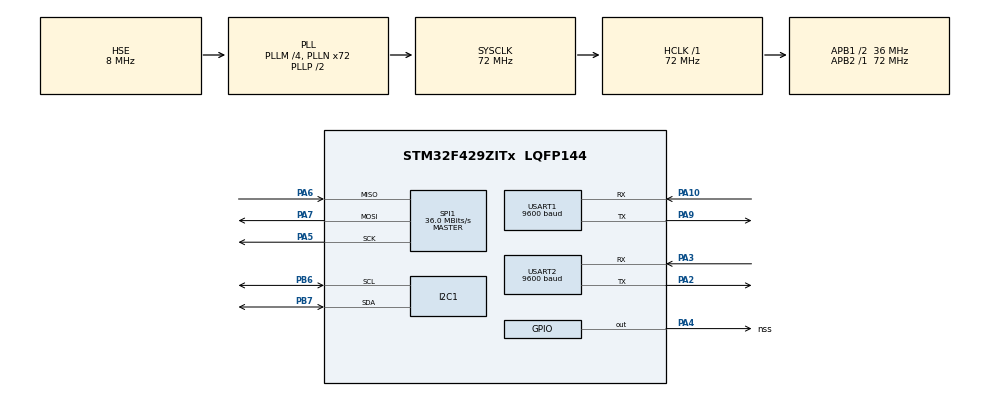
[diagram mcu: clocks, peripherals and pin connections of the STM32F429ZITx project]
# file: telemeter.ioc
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I2C1.I2C_Mode=I2C_Fast
Mcu.Family=STM32F4
Mcu.Name=STM32F429ZITx
Mcu.Package=LQFP144
NVIC.PriorityGroup=NVIC_PRIORITYGROUP_4
NVIC.SPI1_IRQn=true\:0\:0\:false\:false\:true\:true\:true\:true
NVIC.USART1_IRQn=true\:0\:0\:false\:false\:true\:true\:true\:true
PA10.Mode=Asynchronous
PA10.Signal=USART1_RX
PA13.Mode=Serial_Wire
PA13.Signal=SYS_JTMS-SWDIO
PA14.Mode=Serial_Wire
PA14.Signal=SYS_JTCK-SWCLK
PA2.Mode=Asynchronous
PA2.Signal=USART2_TX
PA3.Mode=Asynchronous
PA3.Signal=USART2_RX
PA4.GPIO_Label=nss
PA4.Signal=GPIO_Output
PA5.Mode=Full_Duplex_Master
PA5.Signal=SPI1_SCK
PA6.Mode=Full_Duplex_Master
PA6.Signal=SPI1_MISO
PA7.Mode=Full_Duplex_Master
PA7.Signal=SPI1_MOSI
PA9.Mode=Asynchronous
PA9.Signal=USART1_TX
PB6.Mode=I2C
PB6.Signal=I2C1_SCL
PB7.Mode=I2C
PB7.Signal=I2C1_SDA
PH0/OSC_IN.Mode=HSE-External-Oscillator
PH0/OSC_IN.Signal=RCC_OSC_IN
PH1/OSC_OUT.Mode=HSE-External-Oscillator
PH1/OSC_OUT.Signal=RCC_OSC_OUT
ProjectManager.HeapSize=0x200
ProjectManager.StackSize=0x400
ProjectManager.TargetToolchain=STM32CubeIDE
RCC.48MHZClocksFreq_Value=48000000
RCC.AHBFreq_Value=72000000
RCC.APB1CLKDivider=RCC_HCLK_DIV2
RCC.APB1Freq_Value=36000000
RCC.APB1TimFreq_Value=72000000
RCC.APB2Freq_Value=72000000
RCC.APB2TimFreq_Value=72000000
RCC.CortexFreq_Value=72000000
RCC.HCLKFreq_Value=72000000
RCC.HSE_VALUE=8000000
RCC.HSI_VALUE=16000000
RCC.LSE_VALUE=32768
RCC.PLLM=4
RCC.PLLN=72
RCC.PLLQ=3
RCC.PLLSAIN=50
RCC.PLLSourceVirtual=RCC_PLLSOURCE_HSE
RCC.SYSCLKFreq_VALUE=72000000
RCC.SYSCLKSource=RCC_SYSCLKSOURCE_PLLCLK
RCC.VCOOutputFreq_Value=144000000
SPI1.CalculateBaudRate=36.0 MBits/s
SPI1.Direction=SPI_DIRECTION_2LINES
SPI1.Mode=SPI_MODE_MASTER
SPI1.VirtualType=VM_MASTER
USART1.BaudRate=9600
USART1.VirtualMode=VM_ASYNC
USART2.BaudRate=9600
USART2.VirtualMode=VM_ASYNC
board=STM32F429I-DISC1

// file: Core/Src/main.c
/* USER CODE BEGIN Header */
/**
  ******************************************************************************
  * @file           : main.c
  * @brief          : Main program body
  ******************************************************************************
  * @attention
  *
  * Copyright (c) 2023 STMicroelectronics.
  * All rights reserved.
  *
  * This software is licensed under terms that can be found in the LICENSE file
  * in the root directory of this software component.
  * If no LICENSE file comes with this software, it is provided AS-IS.
  *
  ******************************************************************************
  */
/* USER CODE END Header */
#include "main.h"

/* USER CODE BEGIN Includes */
#include "liquidcrystal_i2c.h"
#include "lora_sx1276.h"
/* USER CODE END Includes */

/* USER CODE BEGIN PD */
#define SLAVE_ADDRESS_LCD 0x27
/* USER CODE END PD */

I2C_HandleTypeDef hi2c1;

SPI_HandleTypeDef hspi1;

UART_HandleTypeDef huart1;
UART_HandleTypeDef huart2;

/* USER CODE BEGIN PV */
uint32_t previousTick = 0;
uint16_t readValue;
uint8_t charValue;
uint8_t singleChar[1] = {0};
uint8_t dataBuffer[20] = {0};
uint8_t dataIndex = 0;
uint8_t txBuffer[20] = {0};
uint8_t rxBuffer[20] = {0};
uint8_t rxIndex = 0;
uint8_t rxData;

uint8_t data[10];
uint8_t get_data[4]={};

/* USER CODE END PV */

void SystemClock_Config(void);
static void MX_GPIO_Init(void);
static void MX_USART1_UART_Init(void);
static void MX_I2C1_Init(void);
static void MX_SPI1_Init(void);
static void MX_USART2_UART_Init(void);

int main(void)
{

  /* MCU Configuration--------------------------------------------------------*/

  /* Reset of all peripherals, Initializes the Flash interface and the Systick. */
  HAL_Init();

  /* Configure the system clock */
  SystemClock_Config();

  /* Initialize all configured peripherals */
  MX_GPIO_Init();
  MX_USART1_UART_Init();
  MX_I2C1_Init();
  MX_SPI1_Init();
  MX_USART2_UART_Init();
  /* USER CODE BEGIN 2 */

  HD44780_Init(2);
  HD44780_Clear();

  data[0]=0;
  data[1]=63;
  data[2]=23;

  int c;
  int d;
  char get_data2[]="";

  int a=10;
  char char_value=a+"0";
  printf("char değeri: %c",char_value);

  /* USER CODE END 2 */

  /* Infinite loop */
  while (1)
  {

    /* USER CODE BEGIN 3 */

	   /* HAL_UART_Transmit(&huart1,data,4,100);

	   	data[3]=(char)i;
	   	HAL_UART_Transmit(&huart1,data,4,100);
	   	HAL_Delay(100);
*/

	    HAL_UART_Receive(&huart2,get_data,4,100);

	      if(get_data[0]<100 && get_data[0]>=10){
	      	  c= get_data[0]/10;
	      	  d=get_data[0]-c*10;
	        }
	      else if(get_data[0]<10) {
	    	  d=get_data[0];
	      }

		      get_data2[0]=c+'0';
		      get_data2[1]=d+'0';

	    HD44780_SetCursor(0,0);
	    HD44780_PrintStr(get_data2);

	    HD44780_SetCursor(10,1);
 	    HAL_Delay(100);

	    }

	    HD44780_SetCursor(0,0);
	    HD44780_PrintStr("finish");
	    HAL_Delay(10000);
	    HD44780_NoDisplay();
	    HD44780_SetCursor(0,0);

  }
  /* USER CODE END 3 */

void SystemClock_Config(void)
{
  RCC_OscInitTypeDef RCC_OscInitStruct = {0};
  RCC_ClkInitTypeDef RCC_ClkInitStruct = {0};

  /** Configure the main internal regulator output voltage
  */
  __HAL_RCC_PWR_CLK_ENABLE();
  __HAL_PWR_VOLTAGESCALING_CONFIG(PWR_REGULATOR_VOLTAGE_SCALE3);

  /** Initializes the RCC Oscillators according to the specified parameters
  * in the RCC_OscInitTypeDef structure.
  */
  RCC_OscInitStruct.OscillatorType = RCC_OSCILLATORTYPE_HSE;
  RCC_OscInitStruct.HSEState = RCC_HSE_ON;
  RCC_OscInitStruct.PLL.PLLState = RCC_PLL_ON;
  RCC_OscInitStruct.PLL.PLLSource = RCC_PLLSOURCE_HSE;
  RCC_OscInitStruct.PLL.PLLM = 4;
  RCC_OscInitStruct.PLL.PLLN = 72;
  RCC_OscInitStruct.PLL.PLLP = RCC_PLLP_DIV2;
  RCC_OscInitStruct.PLL.PLLQ = 3;
  if (HAL_RCC_OscConfig(&RCC_OscInitStruct) != HAL_OK)
  {
    Error_Handler();
  }
  /** Initializes the CPU, AHB and APB buses clocks
  */
  RCC_ClkInitStruct.ClockType = RCC_CLOCKTYPE_HCLK|RCC_CLOCKTYPE_SYSCLK
                              |RCC_CLOCKTYPE_PCLK1|RCC_CLOCKTYPE_PCLK2;
  RCC_ClkInitStruct.SYSCLKSource = RCC_SYSCLKSOURCE_PLLCLK;
  RCC_ClkInitStruct.AHBCLKDivider = RCC_SYSCLK_DIV1;
  RCC_ClkInitStruct.APB1CLKDivider = RCC_HCLK_DIV2;
  RCC_ClkInitStruct.APB2CLKDivider = RCC_HCLK_DIV1;

  if (HAL_RCC_ClockConfig(&RCC_ClkInitStruct, FLASH_LATENCY_2) != HAL_OK)
  {
    Error_Handler();
  }
}

static void MX_I2C1_Init(void)
{

  hi2c1.Instance = I2C1;
  hi2c1.Init.ClockSpeed = 400000;
  hi2c1.Init.DutyCycle = I2C_DUTYCYCLE_2;
  hi2c1.Init.OwnAddress1 = 0;
  hi2c1.Init.AddressingMode = I2C_ADDRESSINGMODE_7BIT;
  hi2c1.Init.DualAddressMode = I2C_DUALADDRESS_DISABLE;
  hi2c1.Init.OwnAddress2 = 0;
  hi2c1.Init.GeneralCallMode = I2C_GENERALCALL_DISABLE;
  hi2c1.Init.NoStretchMode = I2C_NOSTRETCH_DISABLE;
  if (HAL_I2C_Init(&hi2c1) != HAL_OK)
  {
    Error_Handler();
  }

  /** Configure Analogue filter
  */
  if (HAL_I2CEx_ConfigAnalogFilter(&hi2c1, I2C_ANALOGFILTER_ENABLE) != HAL_OK)
  {
    Error_Handler();
  }

  /** Configure Digital filter
  */
  if (HAL_I2CEx_ConfigDigitalFilter(&hi2c1, 0) != HAL_OK)
  {
    Error_Handler();
  }

}

static void MX_SPI1_Init(void)
{

  /* SPI1 parameter configuration*/
  hspi1.Instance = SPI1;
  hspi1.Init.Mode = SPI_MODE_MASTER;
  hspi1.Init.Direction = SPI_DIRECTION_2LINES;
  hspi1.Init.DataSize = SPI_DATASIZE_8BIT;
  hspi1.Init.CLKPolarity = SPI_POLARITY_LOW;
  hspi1.Init.CLKPhase = SPI_PHASE_1EDGE;
  hspi1.Init.NSS = SPI_NSS_SOFT;
  hspi1.Init.BaudRatePrescaler = SPI_BAUDRATEPRESCALER_2;
  hspi1.Init.FirstBit = SPI_FIRSTBIT_MSB;
  hspi1.Init.TIMode = SPI_TIMODE_DISABLE;
  hspi1.Init.CRCCalculation = SPI_CRCCALCULATION_DISABLE;
  hspi1.Init.CRCPolynomial = 10;
  if (HAL_SPI_Init(&hspi1) != HAL_OK)
  {
    Error_Handler();
  }

}

static void MX_USART1_UART_Init(void)
{

  huart1.Instance = USART1;
  huart1.Init.BaudRate = 9600;
  huart1.Init.WordLength = UART_WORDLENGTH_8B;
  huart1.Init.StopBits = UART_STOPBITS_1;
  huart1.Init.Parity = UART_PARITY_NONE;
  huart1.Init.Mode = UART_MODE_TX_RX;
  huart1.Init.HwFlowCtl = UART_HWCONTROL_NONE;
  huart1.Init.OverSampling = UART_OVERSAMPLING_16;
  if (HAL_UART_Init(&huart1) != HAL_OK)
  {
    Error_Handler();
  }

}

static void MX_USART2_UART_Init(void)
{

  huart2.Instance = USART2;
  huart2.Init.BaudRate = 9600;
  huart2.Init.WordLength = UART_WORDLENGTH_8B;
  huart2.Init.StopBits = UART_STOPBITS_1;
  huart2.Init.Parity = UART_PARITY_NONE;
  huart2.Init.Mode = UART_MODE_TX_RX;
  huart2.Init.HwFlowCtl = UART_HWCONTROL_NONE;
  huart2.Init.OverSampling = UART_OVERSAMPLING_16;
  if (HAL_UART_Init(&huart2) != HAL_OK)
  {
    Error_Handler();
  }

}

static void MX_GPIO_Init(void)
{
  GPIO_InitTypeDef GPIO_InitStruct = {0};

  /* GPIO Ports Clock Enable */
  __HAL_RCC_GPIOH_CLK_ENABLE();
  __HAL_RCC_GPIOA_CLK_ENABLE();
  __HAL_RCC_GPIOB_CLK_ENABLE();

  /*Configure GPIO pin Output Level */
  HAL_GPIO_WritePin(nss_GPIO_Port, nss_Pin, GPIO_PIN_RESET);

  /*Configure GPIO pin : nss_Pin */
  GPIO_InitStruct.Pin = nss_Pin;
  GPIO_InitStruct.Mode = GPIO_MODE_OUTPUT_PP;
  GPIO_InitStruct.Pull = GPIO_NOPULL;
  GPIO_InitStruct.Speed = GPIO_SPEED_FREQ_LOW;
  HAL_GPIO_Init(nss_GPIO_Port, &GPIO_InitStruct);

}

void Error_Handler(void)
{
  __disable_irq();
  while (1)
  {
  }
}
